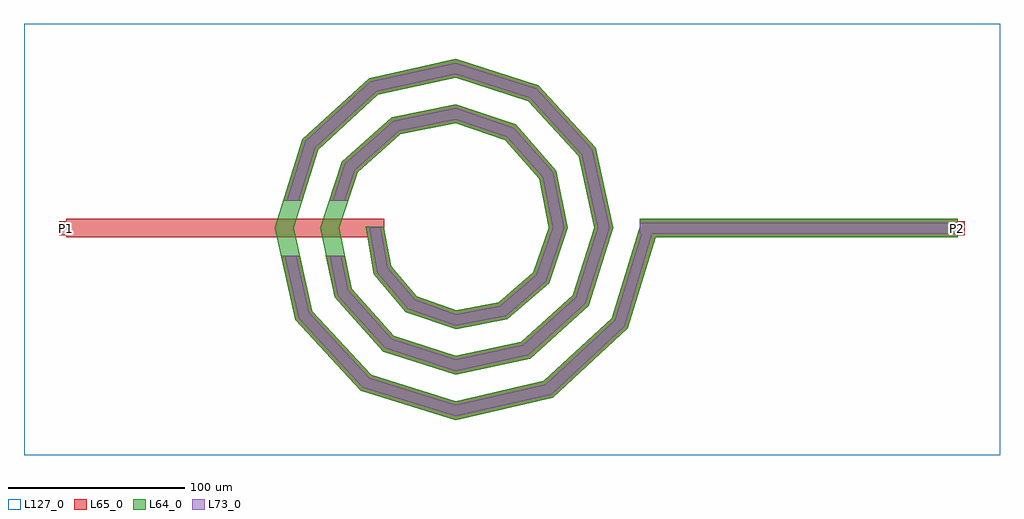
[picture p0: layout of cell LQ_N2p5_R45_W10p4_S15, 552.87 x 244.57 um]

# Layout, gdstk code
import gdstk
lib = gdstk.Library(unit=1e-6, precision=1e-09)
def R(c, l, rs):  # rectangles x0, y0, x1, y1
    for r in rs: c.add(gdstk.rectangle(r[:2], r[2:], *l))
def P(c, l, *ps):  # polygons
    for p in ps: c.add(gdstk.Polygon(p, *l))
L64_0 = (64, 0)
L65_0 = (65, 0)
L73_0 = (73, 0)
L127_0 = (127, 0)

lq_n2p5_r45_w10p4_s15 = lib.new_cell('LQ_N2p5_R45_W10p4_S15')
R(lq_n2p5_r45_w10p4_s15, L64_0, [(104.55,-5.2,284.55,5.2)])
P(lq_n2p5_r45_w10p4_s15, L64_0, [(-36.401,-21.536),(-21.843,-38.694),(0.413,-46.572),(24.699,-41.987),(44.23,-25.095),(52.992,0.368),(47.568,27.873),(28.339,49.771),(0.332,59.413),(-31.055,53.146),(-55.316,31.578),(-65.835,0.302),(-58.722,-34.241),(-34.811,-60.864),(0.277,-72.257),(37.432,-64.295),(66.415,-38.042),(78.679,0.256),(69.867,40.626),(41.27,71.968),(0.238,85.101),(-43.822,75.438),(-77.521,44.495),(-91.524,0.222),(-81.007,-47.02),(-47.719,-83.076),(0.208,-97.947),(50.22,-86.576),(88.632,-50.941),(104.78,1.529),(114.72,-1.529),(97.751,-56.667),(55.247,-96.099),(0.208,-108.706),(-53.467,-92.182),(-90.542,-52.024),(-102.283,0.222),(-86.612,50.267),(-48.799,84.987),(0.238,95.859),(47.07,81.04),(79.432,45.572),(89.435,0.256),(75.468,-43.874),(42.343,-73.879),(0.277,-83.011),(-40.681,-69.893),(-68.327,-39.111),(-76.587,0.302),(-64.316,37.492),(-35.874,62.778),(0.332,70.162),(34.307,58.736),(57.23,32.632),(63.737,0.368),(53.152,-31.128),(29.383,-51.687),(0.413,-57.311),(-27.958,-47.562),(-46.148,-26.124),(-50.638,0.912),(-40.399,0.912)])
R(lq_n2p5_r45_w10p4_s15, L65_0, [(-220.318,-5.2,-40.318,5.2), (104.55,-5.2,284.55,5.2), (-224.318,-4,-216.318,4), (280.55,-4,288.55,4)])
P(lq_n2p5_r45_w10p4_s15, L65_0, [(-81.008,-47.02),(-47.719,-83.076),(0.208,-97.947),(50.22,-86.576),(88.632,-50.941),(104.78,1.53),(114.72,-1.53),(97.751,-56.667),(55.247,-96.099),(0.208,-108.707),(-53.467,-92.182),(-90.542,-52.024),(-98.728,-15.6),(-88.068,-15.6)],
  [(-58.722,-34.241),(-34.812,-60.865),(0.277,-72.257),(37.432,-64.295),(66.415,-38.042),(78.679,0.256),(69.867,40.626),(41.27,71.968),(0.238,85.101),(-43.822,75.438),(-77.521,44.495),(-86.569,15.6),(-97.467,15.6),(-86.612,50.267),(-48.799,84.987),(0.238,95.859),(47.07,81.04),(79.432,45.572),(89.435,0.256),(75.468,-43.874),(42.343,-73.879),(0.277,-83.011),(-40.681,-69.893),(-68.327,-39.111),(-73.254,-15.6),(-62.629,-15.6)],
  [(-21.843,-38.694),(0.413,-46.572),(24.7,-41.987),(44.23,-25.095),(52.992,0.368),(47.568,27.874),(28.339,49.771),(0.332,59.413),(-31.055,53.146),(-55.316,31.578),(-60.588,15.6),(-71.539,15.6),(-64.316,37.492),(-35.874,62.778),(0.332,70.162),(34.307,58.736),(57.23,32.632),(63.737,0.368),(53.152,-31.128),(29.383,-51.687),(0.413,-57.311),(-27.958,-47.562),(-46.148,-26.124),(-50.638,0.912),(-40.399,0.912),(-36.401,-21.536)])
R(lq_n2p5_r45_w10p4_s15, L73_0, [(104.55,-3.2,284.55,3.2)])
P(lq_n2p5_r45_w10p4_s15, L73_0, [(-82.841,-47.983),(-48.824,-84.827),(0.128,-100.016),(51.187,-88.408),(90.386,-52.042),(106.691,0.941),(112.808,0.941),(95.998,-55.566),(54.281,-94.268),(0.128,-106.637),(-52.361,-90.431),(-88.709,-51.062),(-96.678,-15.6),(-90.118,-15.6)],
  [(-60.569,-35.178),(-35.94,-62.601),(0.17,-74.325),(38.376,-66.138),(68.156,-39.163),(80.747,0.157),(71.707,41.577),(42.385,73.712),(0.146,87.17),(-44.779,77.274),(-79.27,45.605),(-88.665,15.6),(-95.372,15.6),(-84.864,49.157),(-47.842,83.151),(0.146,93.79),(45.954,79.296),(77.593,44.621),(87.367,0.157),(73.727,-42.753),(41.399,-72.036),(0.17,-80.943),(-39.553,-68.157),(-66.48,-38.174),(-71.211,-15.6),(-64.672,-15.6)],
  [(-23.019,-40.4),(0.254,-48.637),(25.6,-43.852),(45.946,-26.255),(55.058,0.226),(49.427,28.789),(29.487,51.495),(0.204,61.48),(-31.982,54.999),(-57.047,32.715),(-62.694,15.6),(-69.433,15.6),(-62.585,36.355),(-34.947,60.925),(0.204,68.095),(33.16,57.012),(55.372,31.717),(61.671,0.226),(51.436,-29.968),(28.482,-49.821),(0.254,-55.246),(-26.782,-45.857),(-44.273,-25.241),(-48.669,0.561),(-42.368,0.561),(-38.275,-22.418)])
R(lq_n2p5_r45_w10p4_s15, L127_0, [(-244.318,-128.707,308.55,115.859)])
lq_n2p5_r45_w10p4_s15.add(gdstk.Label('P2', (284.55,0), layer=65, texttype=0))
lq_n2p5_r45_w10p4_s15.add(gdstk.Label('P1', (-220.318,0), layer=65, texttype=0))
lq_n2p5_r45_w10p4_s15.add(gdstk.Label('P2', (288.55,0), layer=145, texttype=0))
lq_n2p5_r45_w10p4_s15.add(gdstk.Label('P1', (-224.318,0), layer=145, texttype=0))

lib.write_gds('LQ_N2p5_R45_W10p4_S15.gds')
